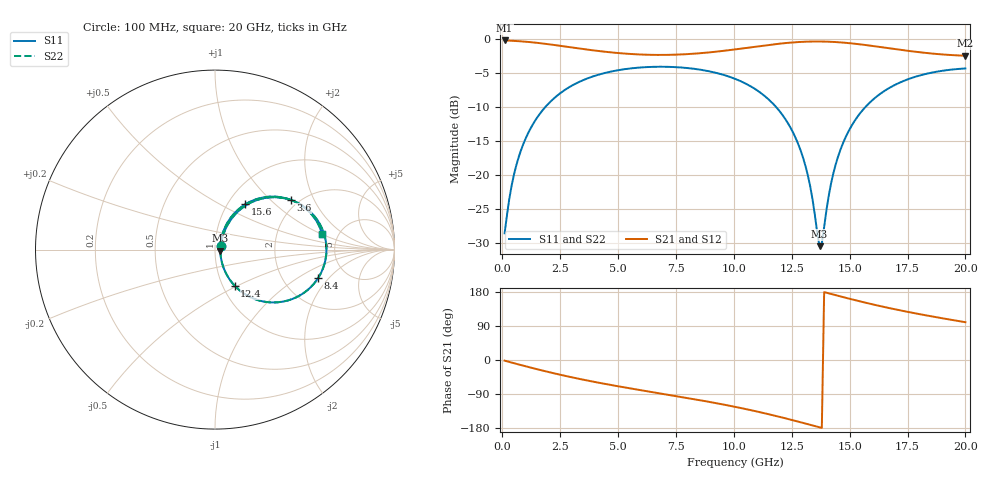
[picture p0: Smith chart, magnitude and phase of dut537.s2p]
! Touchstone file exported from HFSS 2026.1.0
!  File:  C:/ffzhzh/LocalFiles/Ansys_Project_Files/temp_train_TSV_RDL_537_1783112919_50312.aedt
!  Generated:  05:25:20 AM Jul  4, 2026
!  Design:  TSV_RDL
!  Project:  temp_train_TSV_RDL_537_1783112919_50312
! Variables:
!  h_bsmrdl = 2.93um
!  h_ox = 20um
!  h_rdl = 5um
!  h_sub = 89.33um
!  h_tmrdl = 2.57um
!  h_tsv = 89.33um
!  h_via = 3um
!  l_bsmrdl = 334.35um
!  l_sub = 4250.05um
!  l_tmrdl = 678.54um
!  m_sub = 200um
!  pitch = 54.55um
!  r_tsv = 2.76um
!  s_tmrdl = 10um
!  w_bsmrdl = 23.65um
!  w_sub = 500um
!  w_tmrdl = 20.63um
!  x_tsv_center1 = 688.855um
!  x_tsv_center2 = 1046.855um
!  x_tsv_center3 = 1746.025um
!  x_tsv_center4 = 2104.025um
!  x_tsv_center5 = 2803.195um
!  x_tsv_center6 = 3161.195um
# GHz S MA R 50.000000
! Terminal data exported
! Port[1] = TM_RDL1_1_T1
! Port[2] = TM_RDL5_1_T1
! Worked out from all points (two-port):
!   200 points, 100 MHz to 20 GHz, reference 50 ohm
!   highest |S21| = -0.28 dB at 100 MHz (marker M1); lowest = -2.5 dB at 20 GHz (marker M2)
!   |S21| within 3 dB of the highest: start of sweep to end of sweep
!   lowest |S11| = -30.5 dB at 13.7 GHz (marker M3), VSWR 1.06, Z = 53 - j0.603 ohm
!   |S11| at or under -10 dB: start of sweep to 1.872 GHz; 11.81 GHz to 15.7 GHz (3.884 GHz wide, 28.2 % of centre)
!   |S22| runs from -30.5 to -4.1 dB; largest |S21 - S12| = 1.7e-14
!   S11 on the Smith chart (normalised r, x): 100 MHz: 1.07, +0.04; 3.6 GHz: 1.81, +1.35; 8.4 GHz: 3.13, -1.54; 12.4 GHz: 1.14, -0.48; 15.6 GHz: 1.20, +0.67; 20 GHz: 3.74, +1.02
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0.1  0.03726 29.7  0.968 -1.7  0.968 -1.7  0.03726 29.7
! Gamma 0 0 0 0
! Port Impedance 50 0 50 0
0.5  0.09975 61.4  0.9613 -8.4  0.9613 -8.4  0.09975 61.4
1.2  0.2156 60.8  0.9414 -19.6  0.9414 -19.6  0.2156 60.8
2.2  0.3601 49.9  0.899 -34.7  0.899 -34.7  0.3601 49.9
3.5  0.496 34.5  0.8372 -52.0  0.8372 -52.0  0.496 34.5
3.6  0.504 33.3  0.8328 -53.2  0.8328 -53.2  0.504 33.3
5.2  0.5931 16.2  0.7776 -71.5  0.7776 -71.5  0.5931 16.2
6.8  0.6209 0.4  0.7581 -88.0  0.7581 -88.0  0.6209 0.4
8.4  0.596 -15.4  0.7767 -104.6  0.7767 -104.6  0.596 -15.4
10.1  0.5025 -33.9  0.8342 -124.2  0.8342 -124.2  0.5025 -33.9
11.4  0.3704 -49.6  0.8928 -141.6  0.8928 -141.6  0.3704 -49.6
12.4  0.2293 -61.4  0.9319 -156.6  0.9319 -156.6  0.2293 -61.4
13  0.1318 -65.2  0.9466 -166.2  0.9466 -166.2  0.1318 -65.2
13.4  0.06589 -57.9  0.9512 -172.7  0.9512 -172.7  0.06588 -58.0
13.7  0.02998 -10.9  0.9515 -177.6  0.9515 -177.6  0.02994 -10.9
13.8  0.03154 20.7  0.9511 -179.2  0.9511 -179.2  0.0315 20.7
14.1  0.07057 59.9  0.9479 175.9  0.9479 175.9  0.07054 59.9
14.5  0.1359 65.7  0.9399 169.4  0.9399 169.4  0.1359 65.7
15.6  0.3034 56.2  0.9001 152.5  0.9001 152.5  0.3034 56.2
16.7  0.4327 43.0  0.8488 137.2  0.8488 137.2  0.4327 43.0
18.4  0.5554 24.2  0.7806 116.7  0.7806 116.7  0.5554 24.2
20  0.6029 8.3  0.7483 99.7  0.7483 99.7  0.6029 8.3
